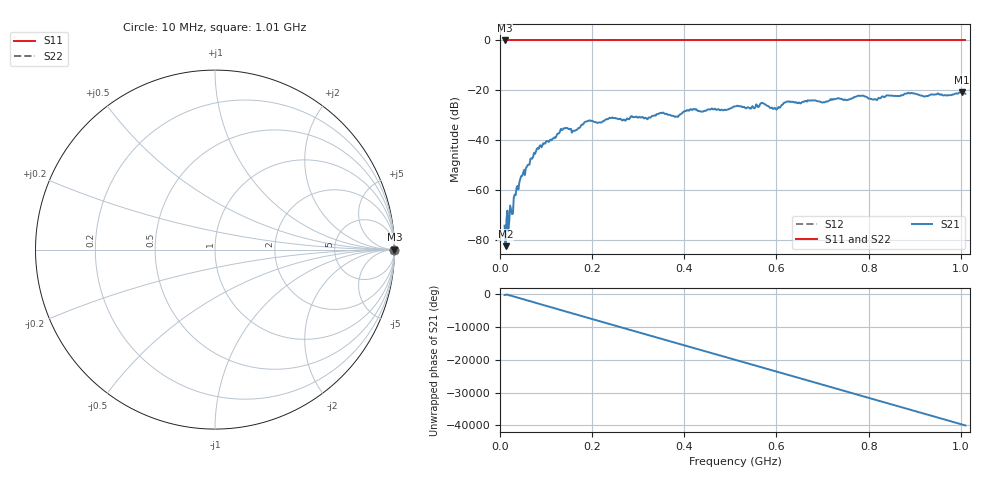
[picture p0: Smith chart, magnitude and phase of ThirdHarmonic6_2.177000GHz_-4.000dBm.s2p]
! 8/17/2025 1:58:01 AM
! C:\ANRITSUVNA\TEMP\TEMP.S2P
! CHANNEL.1
! TR.MEASUREMENT
! RAW.DATA
! RF.CORRECTION.OFF
! AVERAGING.OFF
! IF.BANDWIDTH: 5KHZ
! SWEEPTYPE:  FREQ.SWEEP(Linear)
! Reference Plane Port Info
! PORT:  PORT1  PORT2
! DISTANCE:  0  m  0  m
! TIME:  0  s  0  s
! PHASE.OFFSET:  0  deg.  0  deg.
! LOSS:  0  dB  0  dB
! REF.LOSS:  0  dB  0  dB
! REF.FREQ:  0  Hz  0  Hz
! Power Info
! POWER:  -20  dBm  -20  dBm
! EFF.POWER:  -20  dBm  -20  dBm
! SOURCE.ATTEN:  0  dB  0  dB
! TEST.ATTEN:  0  dB  0  dB
# GHZ S RI R 50.0
! FREQ.GHZ  S11RE  S11IM  S21RE  S21IM  S12RE  S12IM  S22RE  S22IM
!; PortSelection: Port_12
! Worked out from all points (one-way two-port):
!   501 points, 10 MHz to 1.01 GHz, reference 50 ohm
!   highest |S21| = -20.72 dB at 1.002 GHz (marker M1); lowest = -82.4 dB at 12 MHz (marker M2)
!   lowest |S11| = 0.0 dB at 10 MHz (marker M3)
!   |S11| at or under -10 dB: nowhere
!   |S22| runs from 0.0 to 0.0 dB; largest |S21 - S12| = 1.1
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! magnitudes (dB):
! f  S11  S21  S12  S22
! 10 MHz  0.0  -74.2  0.0  0.0
! 12 MHz  0.0  -82.4  0.0  0.0
! 16 MHz  0.0  -68.2  0.0  0.0
! 18 MHz  0.0  -76.2  0.0  0.0
! 30 MHz  0.0  -62.8  0.0  0.0
! 34 MHz  0.0  -62.0  0.0  0.0
! 48 MHz  0.0  -54.3  0.0  0.0
! 84 MHz  0.0  -43.4  0.0  0.0
! 136 MHz  0.0  -35.8  0.0  0.0
! 160 MHz  0.0  -36.2  0.0  0.0
! 178 MHz  0.0  -33.7  0.0  0.0
! 344 MHz  0.0  -29.4  0.0  0.0
! 382 MHz  0.0  -30.5  0.0  0.0
! 416 MHz  0.0  -27.8  0.0  0.0
! 510 MHz  0.0  -26.4  0.0  0.0
! 570 MHz  0.0  -25.0  0.0  0.0
! 598 MHz  0.0  -27.3  0.0  0.0
! 624 MHz  0.0  -24.5  0.0  0.0
! 678 MHz  0.0  -24.0  0.0  0.0
! 844 MHz  0.0  -22.0  0.0  0.0
! 1.002 GHz  0.0  -20.7  0.0  0.0
! 1.01 GHz  0.0  -21.3  0.0  0.0
